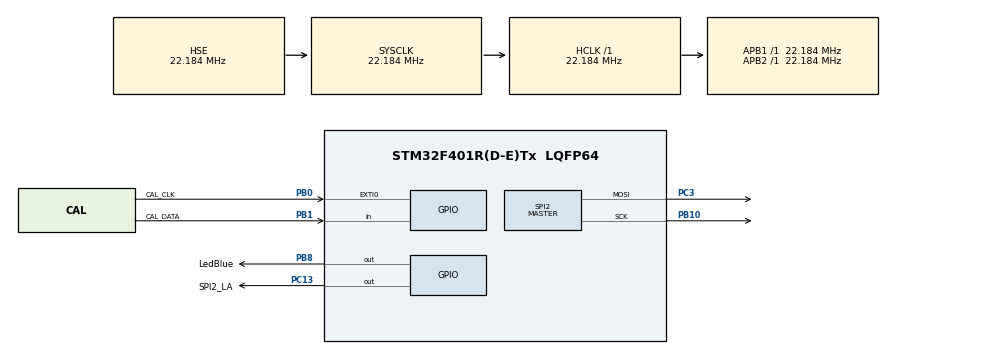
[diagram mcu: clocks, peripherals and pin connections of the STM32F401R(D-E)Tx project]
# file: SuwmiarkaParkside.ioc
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Dma.Request0=SPI2_TX
Dma.SPI2_TX.0.Direction=DMA_MEMORY_TO_PERIPH
Dma.SPI2_TX.0.FIFOMode=DMA_FIFOMODE_DISABLE
Dma.SPI2_TX.0.Instance=DMA1_Stream4
Dma.SPI2_TX.0.MemDataAlignment=DMA_MDATAALIGN_BYTE
Dma.SPI2_TX.0.MemInc=DMA_MINC_ENABLE
Dma.SPI2_TX.0.Mode=DMA_NORMAL
Dma.SPI2_TX.0.PeriphDataAlignment=DMA_PDATAALIGN_BYTE
Dma.SPI2_TX.0.PeriphInc=DMA_PINC_DISABLE
Dma.SPI2_TX.0.Priority=DMA_PRIORITY_LOW
Mcu.Family=STM32F4
Mcu.Name=STM32F401R(D-E)Tx
Mcu.Package=LQFP64
NVIC.DMA1_Stream4_IRQn=true\:0\:0\:false\:false\:true\:false\:true\:true
NVIC.EXTI0_IRQn=true\:0\:0\:false\:false\:true\:true\:true\:true
NVIC.PriorityGroup=NVIC_PRIORITYGROUP_4
NVIC.SPI2_IRQn=true\:0\:0\:false\:false\:true\:true\:true\:true
NVIC.TIM1_TRG_COM_TIM11_IRQn=true\:0\:0\:false\:false\:true\:true\:true\:true
PB0.GPIO_Label=CAL_CLK
PB0.GPIO_ModeDefaultEXTI=GPIO_MODE_IT_RISING
PB0.GPIO_PuPd=GPIO_PULLUP
PB0.Signal=GPXTI0
PB1.GPIO_Label=CAL_DATA
PB1.GPIO_PuPd=GPIO_PULLUP
PB1.Signal=GPIO_Input
PB10.Mode=TX_Only_Simplex_Unidirect_Master
PB10.Signal=SPI2_SCK
PB8.GPIO_Label=LedBlue
PB8.Signal=GPIO_Output
PC13-ANTI_TAMP.GPIO_Label=SPI2_LA
PC13-ANTI_TAMP.Signal=GPIO_Output
PC14-OSC32_IN.Mode=LSE-External-Oscillator
PC14-OSC32_IN.Signal=RCC_OSC32_IN
PC15-OSC32_OUT.Mode=LSE-External-Oscillator
PC15-OSC32_OUT.Signal=RCC_OSC32_OUT
PC3.Mode=TX_Only_Simplex_Unidirect_Master
PC3.Signal=SPI2_MOSI
PH0\ -\ OSC_IN.Mode=HSE-External-Oscillator
PH0\ -\ OSC_IN.Signal=RCC_OSC_IN
PH1\ -\ OSC_OUT.Mode=HSE-External-Oscillator
PH1\ -\ OSC_OUT.Signal=RCC_OSC_OUT
ProjectManager.HeapSize=0x200
ProjectManager.StackSize=0x400
ProjectManager.TargetToolchain=STM32CubeIDE
RCC.48MHZClocksFreq_Value=66552000
RCC.AHBFreq_Value=22184000
RCC.APB1Freq_Value=22184000
RCC.APB1TimFreq_Value=22184000
RCC.APB2Freq_Value=22184000
RCC.APB2TimFreq_Value=22184000
RCC.CortexFreq_Value=22184000
RCC.HCLKFreq_Value=22184000
RCC.HSE_VALUE=22184000
RCC.HSI_VALUE=16000000
RCC.PLLSourceVirtual=RCC_PLLSOURCE_HSE
RCC.RCC_RTC_Clock_Source=RCC_RTCCLKSOURCE_LSI
RCC.RCC_RTC_Clock_SourceVirtual=RCC_RTCCLKSOURCE_LSE
RCC.SYSCLKFreq_VALUE=22184000
RCC.SYSCLKSource=RCC_SYSCLKSOURCE_HSE
RCC.VCOOutputFreq_Value=266208000
SPI2.Direction=SPI_DIRECTION_2LINES
SPI2.Mode=SPI_MODE_MASTER
SPI2.VirtualType=VM_MASTER
TIM11.Period=1
TIM11.Prescaler=22183
VP_TIM11_VS_ClockSourceINT.Mode=Enable_Timer
board=custom

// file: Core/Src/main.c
/* USER CODE BEGIN Header */
/**
 ******************************************************************************
 * @file           : main.c
 * @brief          : Main program body
 ******************************************************************************
 * @attention
 *
 * Copyright (c) 2025 STMicroelectronics.
 * All rights reserved.
 *
 * This software is licensed under terms that can be found in the LICENSE file
 * in the root directory of this software component.
 * If no LICENSE file comes with this software, it is provided AS-IS.
 *
 ******************************************************************************
 */
/* USER CODE END Header */
#include "main.h"
#include "dma.h"
#include "spi.h"
#include "tim.h"
#include "gpio.h"
/* USER CODE BEGIN Includes */
#include "display7seg.h"
#include <stdio.h>
#include "caliper.h"
/* USER CODE END Includes */

/* USER CODE BEGIN PM */
#define LedBlue_Pin       GPIO_PIN_8
#define LedBlue_GPIO_Port GPIOB

// Makra do sterowania diodą
#define LED_BLUE_ON()      HAL_GPIO_WritePin(LedBlue_GPIO_Port, LedBlue_Pin, GPIO_PIN_SET)
#define LED_BLUE_OFF()     HAL_GPIO_WritePin(LedBlue_GPIO_Port, LedBlue_Pin, GPIO_PIN_RESET)
#define LED_BLUE_TOGGLE()  HAL_GPIO_TogglePin(LedBlue_GPIO_Port, LedBlue_Pin)
/* USER CODE END PM */

/* USER CODE BEGIN PV */
extern SPI_HandleTypeDef hspi2; // jeśli nie jest już zadeklarowany w innym miejscu
extern uint8_t g_displayData[]; // Twój bufor do wysłania (np. 6 bajtów dla 6 cyfr)
static volatile uint8_t isSpiReady = 1;
/* USER CODE END PV */

void SystemClock_Config(void);

int main(void) {

	/* MCU Configuration--------------------------------------------------------*/

	/* Reset of all peripherals, Initializes the Flash interface and the Systick. */
	HAL_Init();

	/* Configure the system clock */
	SystemClock_Config();

	/* Initialize all configured peripherals */
	MX_GPIO_Init();
	MX_DMA_Init();
	MX_SPI2_Init();
	MX_TIM11_Init();
	/* USER CODE BEGIN 2 */
	HAL_TIM_Base_Start_IT(&htim11);
	Display_Init();
	//int32_t liczba = 0;
	Caliper_ResetCapture();  // przygotowanie do odbioru ramki

	//HAL_TIM_PWM_Start(&htim4, TIM_CHANNEL_4);
	//__HAL_TIM_SET_COMPARE(&htim4, TIM_CHANNEL_1, 11091);
	/* USER CODE END 2 */

	/* Infinite loop */
	/* USER CODE BEGIN WHILE */
	while (1) {
		if (Caliper_FrameReady()) {
			LED_BLUE_TOGGLE();
			// Display_ShowRawHex( Caliper_GetRawBytes() );
			int32_t rel_um, abs;
			Caliper_ExtractValues(&rel_um, &abs);
			Caliper_ResetCapture();       // resetujemy NATYCHMIAST
			Display_ShowMicrometers(rel_um);  // od razu

		}
	}

	/* USER CODE END WHILE */

}

void SystemClock_Config(void) {
	RCC_OscInitTypeDef RCC_OscInitStruct = { 0 };
	RCC_ClkInitTypeDef RCC_ClkInitStruct = { 0 };

	/** Configure the main internal regulator output voltage
	 */
	__HAL_RCC_PWR_CLK_ENABLE();
	__HAL_PWR_VOLTAGESCALING_CONFIG(PWR_REGULATOR_VOLTAGE_SCALE2);

	/** Initializes the RCC Oscillators according to the specified parameters
	 * in the RCC_OscInitTypeDef structure.
	 */
	RCC_OscInitStruct.OscillatorType = RCC_OSCILLATORTYPE_HSE;
	RCC_OscInitStruct.HSEState = RCC_HSE_ON;
	RCC_OscInitStruct.PLL.PLLState = RCC_PLL_NONE;
	if (HAL_RCC_OscConfig(&RCC_OscInitStruct) != HAL_OK) {
		Error_Handler();
	}

	/** Initializes the CPU, AHB and APB buses clocks
	 */
	RCC_ClkInitStruct.ClockType = RCC_CLOCKTYPE_HCLK | RCC_CLOCKTYPE_SYSCLK
			| RCC_CLOCKTYPE_PCLK1 | RCC_CLOCKTYPE_PCLK2;
	RCC_ClkInitStruct.SYSCLKSource = RCC_SYSCLKSOURCE_HSE;
	RCC_ClkInitStruct.AHBCLKDivider = RCC_SYSCLK_DIV1;
	RCC_ClkInitStruct.APB1CLKDivider = RCC_HCLK_DIV1;
	RCC_ClkInitStruct.APB2CLKDivider = RCC_HCLK_DIV1;

	if (HAL_RCC_ClockConfig(&RCC_ClkInitStruct, FLASH_LATENCY_0) != HAL_OK) {
		Error_Handler();
	}
}

/* USER CODE BEGIN 4 */

void HAL_TIM_PeriodElapsedCallback(TIM_HandleTypeDef *htim) {
	if (htim->Instance == TIM11) {

		static uint8_t msCount = 0;
		msCount++;

		// Co 10 ms
		if ((msCount % 50) == 0) {
			if (isSpiReady) {
				HAL_GPIO_WritePin(SPI2_LA_GPIO_Port, SPI2_LA_Pin,
						GPIO_PIN_RESET);

				// Pobierz wskaźnik do frontBuffer i rozpocznij transmisję DMA
				uint8_t *buf = Display_GetFrontBuffer();
				HAL_StatusTypeDef ret = HAL_SPI_Transmit_DMA(&hspi2, buf,
						DISPLAY_DIGITS);

				if (ret == HAL_OK) {
					// Transmisja DMA rozpoczęta – oznacz, że SPI jest zajęte
					isSpiReady = 0;
				} else {
					// Obsługa błędu: podnieś latch, żeby rejestr nie pozostał zablokowany
					HAL_GPIO_WritePin(SPI2_LA_GPIO_Port, SPI2_LA_Pin,
							GPIO_PIN_SET);
					// Dodatkowo możesz obsłużyć błąd (np. logowanie lub sygnalizację błędu)
				}
			}
		}
	}
}

void HAL_SPI_TxCpltCallback(SPI_HandleTypeDef *hspi) {
	if (hspi->Instance == SPI2) {
		// Ustawienie latch na stan wysoki – sygnalizacja, że transmisja się zakończyła
		HAL_GPIO_WritePin(SPI2_LA_GPIO_Port, SPI2_LA_Pin, GPIO_PIN_SET);

		// Skopiuj zawartość backBuffer do frontBuffer, jeśli jest nowa wartość
		Display_RefreshIfNeeded();

		// Oznacz, że SPI jest gotowe do kolejnej transmisji
		isSpiReady = 1;
	}
}

void Caliper_EXTI_Handler(void) {
	uint8_t bit = HAL_GPIO_ReadPin(CAL_DATA_GPIO_Port, CAL_DATA_Pin);
	Caliper_ProcessBit(bit);
}

void HAL_GPIO_EXTI_Callback(uint16_t pin) {
	if (pin != CAL_CLK_Pin)
		return;
	if (HAL_GPIO_ReadPin(CAL_CLK_GPIO_Port, CAL_CLK_Pin) != GPIO_PIN_SET)
		return;

	/* pauza >3 ms → nowa ramka */
	static uint32_t last_ms = 0;
	uint32_t now_ms = HAL_GetTick();
	if (now_ms - last_ms > 3)
		Caliper_ResetCapture();
	last_ms = now_ms;

	/* odczytaj bit */
	uint8_t bit = HAL_GPIO_ReadPin(CAL_DATA_GPIO_Port, CAL_DATA_Pin);
	Caliper_ProcessBit(bit);
}

/* USER CODE END 4 */

void Error_Handler(void) {
	__disable_irq();
	while (1) {
	}
}
